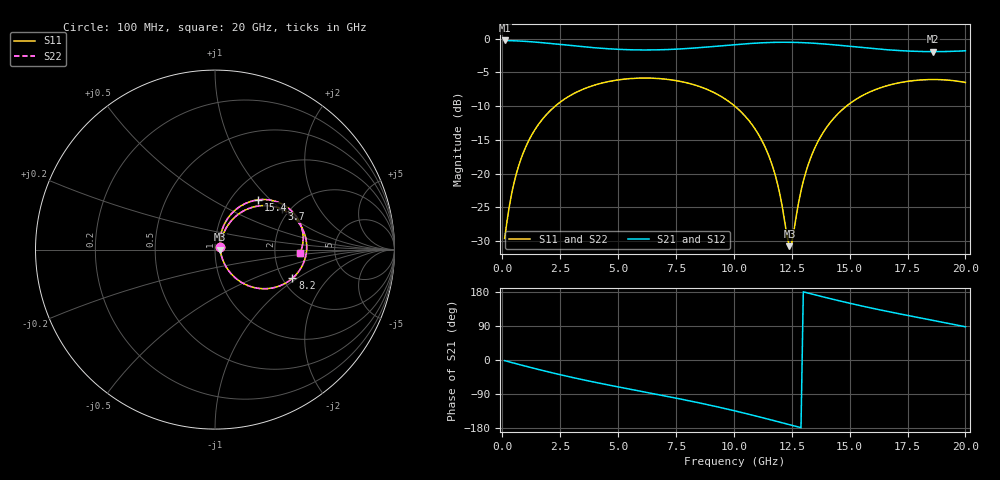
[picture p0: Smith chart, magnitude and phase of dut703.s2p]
! Touchstone file exported from HFSS 2026.1.0
!  File:  C:/ffzhzh/LocalFiles/Ansys_Project_Files/temp_train_TSV_RDL_703_1783199036_43440.aedt
!  Generated:  05:21:28 AM Jul  5, 2026
!  Design:  TSV_RDL
!  Project:  temp_train_TSV_RDL_703_1783199036_43440
! Variables:
!  h_bsmrdl = 5.79um
!  h_ox = 20um
!  h_rdl = 5um
!  h_sub = 77.59um
!  h_tmrdl = 3.63um
!  h_tsv = 77.59um
!  h_via = 3um
!  l_bsmrdl = 629.98um
!  l_sub = 4567.45um
!  l_tmrdl = 544.86um
!  m_sub = 200um
!  pitch = 37.1um
!  r_tsv = 3.88um
!  s_tmrdl = 10um
!  w_bsmrdl = 21.69um
!  w_sub = 500um
!  w_tmrdl = 11um
!  x_tsv_center1 = 550.36um
!  x_tsv_center2 = 1202.03um
!  x_tsv_center3 = 1757.89um
!  x_tsv_center4 = 2409.56um
!  x_tsv_center5 = 2965.42um
!  x_tsv_center6 = 3617.09um
# GHz S MA R 50.000000
! Terminal data exported
! Port[1] = TM_RDL1_1_T1
! Port[2] = TM_RDL5_1_T1
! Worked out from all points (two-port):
!   200 points, 100 MHz to 20 GHz, reference 50 ohm
!   highest |S21| = -0.25 dB at 100 MHz (marker M1); lowest = -1.9 dB at 18.6 GHz (marker M2)
!   |S21| within 3 dB of the highest: start of sweep to end of sweep
!   lowest |S11| = -30.7 dB at 12.4 GHz (marker M3), VSWR 1.06, Z = 53 - j0.0536 ohm
!   |S11| at or under -10 dB: start of sweep to 2.281 GHz; 10.04 GHz to 14.86 GHz (4.816 GHz wide, 38.7 % of centre)
!   |S22| runs from -30.8 to -5.8 dB; largest |S21 - S12| = 1.7e-14
!   S11 on the Smith chart (normalised r, x): 100 MHz: 1.06, +0.03; 3.7 GHz: 1.83, +1.02; 8.2 GHz: 2.26, -0.92; 15.4 GHz: 1.32, +0.85; 20 GHz: 2.80, -0.14
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0.1  0.03307 28.5  0.9713 -1.7  0.9713 -1.7  0.03308 28.5
! Gamma 0 0 0 0
! Port Impedance 50 0 50 0
0.6  0.09893 61.9  0.9646 -9.9  0.9646 -9.9  0.09893 61.9
1.2  0.1837 60.5  0.9511 -19.4  0.9511 -19.4  0.1837 60.5
2.2  0.3076 49.3  0.9183 -34.5  0.9183 -34.5  0.3076 49.3
3.5  0.4234 33.3  0.8721 -52.3  0.8721 -52.3  0.4234 33.3
3.7  0.4366 30.9  0.8658 -54.9  0.8658 -54.9  0.4366 30.9
5.3  0.5027 12.4  0.831 -74.5  0.831 -74.5  0.5027 12.4
6.8  0.5065 -4.3  0.8282 -92.2  0.8282 -92.2  0.5065 -4.3
8.2  0.4602 -20.3  0.8512 -109.3  0.8512 -109.3  0.4602 -20.3
10.1  0.3104 -43.3  0.9059 -135.0  0.9059 -135.0  0.3104 -43.4
10.9  0.2165 -52.6  0.9269 -147.0  0.9269 -147.0  0.2165 -52.6
11.5  0.137 -57.1  0.9376 -156.3  0.9376 -156.3  0.137 -57.2
11.9  0.08218 -54.9  0.9413 -162.7  0.9413 -162.7  0.08211 -55.0
12.4  0.02902 -1.0  0.9416 -170.6  0.9416 -170.6  0.02877 -1.1
12.5  0.03064 25.7  0.941 -172.2  0.941 -172.2  0.03039 25.8
13  0.08795 68.7  0.9354 179.8  0.9354 179.8  0.08785 68.8
13.4  0.1421 70.0  0.9277 173.5  0.9277 173.5  0.1421 70.1
14.2  0.2439 63.2  0.9056 161.4  0.9056 161.4  0.2438 63.3
15.4  0.3665 49.1  0.8652 144.3  0.8652 144.3  0.3665 49.1
16.7  0.4529 33.9  0.8268 127.4  0.8268 127.4  0.4529 34.0
18.6  0.4986 13.0  0.8026 104.5  0.8026 104.5  0.4986 13.0
20  0.4743 -2.3  0.8144 87.7  0.8144 87.7  0.4744 -2.3
